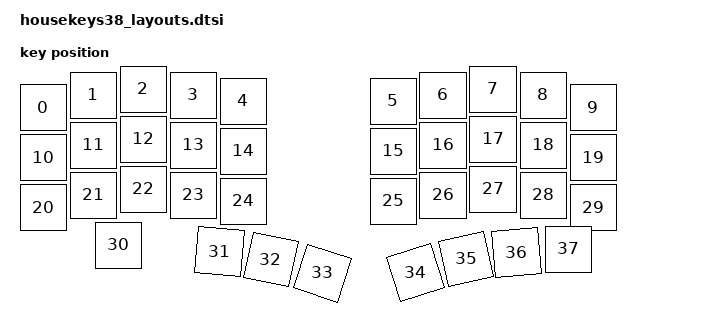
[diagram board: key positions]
#include <physical_layouts.dtsi>

/ {
    housekeys_transform: housekeys_transform {
        compatible = "zmk,layout-transform";
        map = <0 0 0>;
    };
    housekeys_layout: housekeys38_layout {
        compatible = "zmk,physical-layout";
        display-name = "housekeys38";
        transform = <&housekeys_transform>;

        keys  //                     w   h    x    y     rot    rx    ry
            = <&key_physical_attrs 100 100    0   37       0     0     0>
            , <&key_physical_attrs 100 100  100   12       0     0     0>
            , <&key_physical_attrs 100 100  200    0       0     0     0>
            , <&key_physical_attrs 100 100  300   12       0     0     0>
            , <&key_physical_attrs 100 100  400   24       0     0     0>
            , <&key_physical_attrs 100 100  700   24       0     0     0>
            , <&key_physical_attrs 100 100  800   12       0     0     0>
            , <&key_physical_attrs 100 100  900    0       0     0     0>
            , <&key_physical_attrs 100 100 1000   12       0     0     0>
            , <&key_physical_attrs 100 100 1100   37       0     0     0>
            , <&key_physical_attrs 100 100    0  137       0     0     0>
            , <&key_physical_attrs 100 100  100  112       0     0     0>
            , <&key_physical_attrs 100 100  200  100       0     0     0>
            , <&key_physical_attrs 100 100  300  112       0     0     0>
            , <&key_physical_attrs 100 100  400  124       0     0     0>
            , <&key_physical_attrs 100 100  700  124       0     0     0>
            , <&key_physical_attrs 100 100  800  112       0     0     0>
            , <&key_physical_attrs 100 100  900  100       0     0     0>
            , <&key_physical_attrs 100 100 1000  112       0     0     0>
            , <&key_physical_attrs 100 100 1100  137       0     0     0>
            , <&key_physical_attrs 100 100    0  237       0     0     0>
            , <&key_physical_attrs 100 100  100  212       0     0     0>
            , <&key_physical_attrs 100 100  200  200       0     0     0>
            , <&key_physical_attrs 100 100  300  212       0     0     0>
            , <&key_physical_attrs 100 100  400  224       0     0     0>
            , <&key_physical_attrs 100 100  700  224       0     0     0>
            , <&key_physical_attrs 100 100  800  212       0     0     0>
            , <&key_physical_attrs 100 100  900  200       0     0     0>
            , <&key_physical_attrs 100 100 1000  212       0     0     0>
            , <&key_physical_attrs 100 100 1100  237       0     0     0>
            , <&key_physical_attrs 100 100  150  312       0     0     0>
            , <&key_physical_attrs 100 100  360  320     500   350   300>
            , <&key_physical_attrs 100 100  450  330    1200   450   412>
            , <&key_physical_attrs 100 100  555  350    1800   550   423>
            , <&key_physical_attrs 100 100  750  350 (-1800)   850   423>
            , <&key_physical_attrs 100 100  850  350 (-1200)   850   412>
            , <&key_physical_attrs 100 100  940  330  (-500)   960   300>
            , <&key_physical_attrs 100 100 1050  320       0     0     0>
            ;
    };

    position_map {
        compatible = "zmk,physical-layout-position-map";

        housekeys_layout {
            physical-layout = <&housekeys_layout>;
            positions = <>;
        };
    };
};
